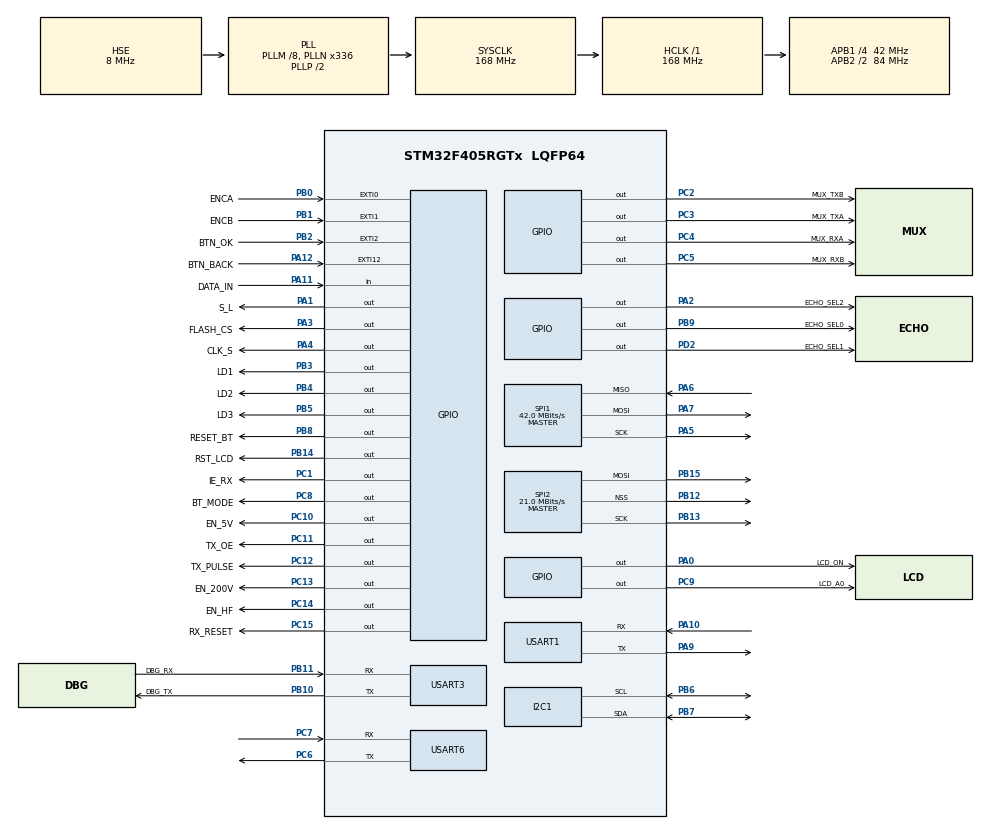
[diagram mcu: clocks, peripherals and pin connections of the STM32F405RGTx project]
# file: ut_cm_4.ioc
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Dma.Request0=USART1_RX
Dma.Request1=USART1_TX
Dma.Request2=USART3_RX
Dma.Request3=USART3_TX
Dma.Request4=USART6_RX
Dma.Request5=USART6_TX
Dma.USART1_RX.0.Direction=DMA_PERIPH_TO_MEMORY
Dma.USART1_RX.0.FIFOMode=DMA_FIFOMODE_DISABLE
Dma.USART1_RX.0.Instance=DMA2_Stream2
Dma.USART1_RX.0.MemDataAlignment=DMA_MDATAALIGN_BYTE
Dma.USART1_RX.0.MemInc=DMA_MINC_ENABLE
Dma.USART1_RX.0.Mode=DMA_CIRCULAR
Dma.USART1_RX.0.PeriphDataAlignment=DMA_PDATAALIGN_BYTE
Dma.USART1_RX.0.PeriphInc=DMA_PINC_DISABLE
Dma.USART1_RX.0.Priority=DMA_PRIORITY_LOW
Dma.USART1_TX.1.Direction=DMA_MEMORY_TO_PERIPH
Dma.USART1_TX.1.FIFOMode=DMA_FIFOMODE_DISABLE
Dma.USART1_TX.1.Instance=DMA2_Stream7
Dma.USART1_TX.1.MemDataAlignment=DMA_MDATAALIGN_BYTE
Dma.USART1_TX.1.MemInc=DMA_MINC_ENABLE
Dma.USART1_TX.1.Mode=DMA_NORMAL
Dma.USART1_TX.1.PeriphDataAlignment=DMA_PDATAALIGN_BYTE
Dma.USART1_TX.1.PeriphInc=DMA_PINC_DISABLE
Dma.USART1_TX.1.Priority=DMA_PRIORITY_LOW
Dma.USART3_RX.2.Direction=DMA_PERIPH_TO_MEMORY
Dma.USART3_RX.2.FIFOMode=DMA_FIFOMODE_DISABLE
Dma.USART3_RX.2.Instance=DMA1_Stream1
Dma.USART3_RX.2.MemDataAlignment=DMA_MDATAALIGN_BYTE
Dma.USART3_RX.2.MemInc=DMA_MINC_ENABLE
Dma.USART3_RX.2.Mode=DMA_CIRCULAR
Dma.USART3_RX.2.PeriphDataAlignment=DMA_PDATAALIGN_BYTE
Dma.USART3_RX.2.PeriphInc=DMA_PINC_DISABLE
Dma.USART3_RX.2.Priority=DMA_PRIORITY_LOW
Dma.USART3_TX.3.Direction=DMA_MEMORY_TO_PERIPH
Dma.USART3_TX.3.FIFOMode=DMA_FIFOMODE_DISABLE
Dma.USART3_TX.3.Instance=DMA1_Stream3
Dma.USART3_TX.3.MemDataAlignment=DMA_MDATAALIGN_BYTE
Dma.USART3_TX.3.MemInc=DMA_MINC_ENABLE
Dma.USART3_TX.3.Mode=DMA_NORMAL
Dma.USART3_TX.3.PeriphDataAlignment=DMA_PDATAALIGN_BYTE
Dma.USART3_TX.3.PeriphInc=DMA_PINC_DISABLE
Dma.USART3_TX.3.Priority=DMA_PRIORITY_LOW
Dma.USART6_RX.4.Direction=DMA_PERIPH_TO_MEMORY
Dma.USART6_RX.4.FIFOMode=DMA_FIFOMODE_DISABLE
Dma.USART6_RX.4.Instance=DMA2_Stream1
Dma.USART6_RX.4.MemDataAlignment=DMA_MDATAALIGN_BYTE
Dma.USART6_RX.4.MemInc=DMA_MINC_ENABLE
Dma.USART6_RX.4.Mode=DMA_CIRCULAR
Dma.USART6_RX.4.PeriphDataAlignment=DMA_PDATAALIGN_BYTE
Dma.USART6_RX.4.PeriphInc=DMA_PINC_DISABLE
Dma.USART6_RX.4.Priority=DMA_PRIORITY_LOW
Dma.USART6_TX.5.Direction=DMA_MEMORY_TO_PERIPH
Dma.USART6_TX.5.FIFOMode=DMA_FIFOMODE_DISABLE
Dma.USART6_TX.5.Instance=DMA2_Stream6
Dma.USART6_TX.5.MemDataAlignment=DMA_MDATAALIGN_BYTE
Dma.USART6_TX.5.MemInc=DMA_MINC_ENABLE
Dma.USART6_TX.5.Mode=DMA_NORMAL
Dma.USART6_TX.5.PeriphDataAlignment=DMA_PDATAALIGN_BYTE
Dma.USART6_TX.5.PeriphInc=DMA_PINC_DISABLE
Dma.USART6_TX.5.Priority=DMA_PRIORITY_LOW
FREERTOS.Tasks01=defaultTask,0,128,StartDefaultTask,Default,NULL
IWDG.Prescaler=IWDG_PRESCALER_16
Mcu.Family=STM32F4
Mcu.Name=STM32F405RGTx
Mcu.Package=LQFP64
NVIC.DMA1_Stream1_IRQn=true\:5\:0\:false\:false\:true\:true\:false
NVIC.DMA1_Stream3_IRQn=true\:5\:0\:false\:false\:true\:true\:false
NVIC.DMA2_Stream1_IRQn=true\:5\:0\:false\:false\:true\:true\:false
NVIC.DMA2_Stream2_IRQn=true\:5\:0\:false\:false\:true\:true\:false
NVIC.DMA2_Stream6_IRQn=true\:5\:0\:false\:false\:true\:true\:false
NVIC.DMA2_Stream7_IRQn=true\:5\:0\:false\:false\:true\:true\:false
NVIC.EXTI0_IRQn=true\:5\:0\:false\:true\:true\:1\:true\:true
NVIC.EXTI15_10_IRQn=true\:0\:0\:false\:false\:true\:false\:true
NVIC.EXTI1_IRQn=true\:5\:0\:false\:true\:true\:2\:true\:true
NVIC.EXTI2_IRQn=true\:5\:0\:false\:true\:true\:3\:true\:true
NVIC.PriorityGroup=NVIC_PRIORITYGROUP_4
NVIC.TIM2_IRQn=true\:0\:0\:false\:false\:true\:false\:false
NVIC.TimeBase=TIM2_IRQn
NVIC.TimeBaseIP=TIM2
NVIC.USART1_IRQn=true\:5\:0\:false\:false\:true\:true\:true
PA0-WKUP.GPIO_Label=LCD_ON
PA0-WKUP.Signal=GPIO_Output
PA1.GPIO_Label=S_L
PA1.GPIO_Speed=GPIO_SPEED_FREQ_VERY_HIGH
PA1.Signal=GPIO_Output
PA10.Mode=Asynchronous
PA10.Signal=USART1_RX
PA11.GPIO_Label=DATA_IN
PA11.Signal=GPIO_Input
PA12.GPIO_Label=BTN_BACK
PA12.Signal=GPXTI12
PA2.GPIO_Label=ECHO_SEL2
PA2.Signal=GPIO_Output
PA3.GPIO_Label=FLASH_CS
PA3.GPIO_Speed=GPIO_SPEED_FREQ_VERY_HIGH
PA3.Signal=GPIO_Output
PA4.GPIO_Label=CLK_S
PA4.GPIO_Speed=GPIO_SPEED_FREQ_VERY_HIGH
PA4.Signal=GPIO_Output
PA5.Mode=Full_Duplex_Master
PA5.Signal=SPI1_SCK
PA6.Mode=Full_Duplex_Master
PA6.Signal=SPI1_MISO
PA7.Mode=Full_Duplex_Master
PA7.Signal=SPI1_MOSI
PA9.Mode=Asynchronous
PA9.Signal=USART1_TX
PB0.GPIO_Label=ENCA
PB0.Signal=GPXTI0
PB1.GPIO_Label=ENCB
PB1.Signal=GPXTI1
PB10.GPIO_Label=DBG_TX
PB10.Mode=Asynchronous
PB10.Signal=USART3_TX
PB11.GPIO_Label=DBG_RX
PB11.Mode=Asynchronous
PB11.Signal=USART3_RX
PB12.Mode=NSS_Signal_Hard_Output
PB12.Signal=SPI2_NSS
PB13.Mode=TX_Only_Simplex_Unidirect_Master
PB13.Signal=SPI2_SCK
PB14.GPIO_Label=RST_LCD
PB14.Signal=GPIO_Output
PB15.Mode=TX_Only_Simplex_Unidirect_Master
PB15.Signal=SPI2_MOSI
PB2.GPIO_Label=BTN_OK
PB2.Signal=GPXTI2
PB3.GPIO_Label=LD1
PB3.Signal=GPIO_Output
PB4.GPIO_Label=LD2
PB4.Signal=GPIO_Output
PB5.GPIO_Label=LD3
PB5.Signal=GPIO_Output
PB6.Mode=I2C
PB6.Signal=I2C1_SCL
PB7.Mode=I2C
PB7.Signal=I2C1_SDA
PB8.GPIO_Label=RESET_BT
PB8.Signal=GPIO_Output
PB9.GPIO_Label=ECHO_SEL0
PB9.Signal=GPIO_Output
PC1.GPIO_Label=IE_RX
PC1.GPIO_Speed=GPIO_SPEED_FREQ_VERY_HIGH
PC1.Signal=GPIO_Output
PC10.GPIO_Label=EN_5V
PC10.Signal=GPIO_Output
PC11.GPIO_Label=TX_OE
PC11.GPIO_Speed=GPIO_SPEED_FREQ_VERY_HIGH
PC11.Signal=GPIO_Output
PC12.GPIO_Label=TX_PULSE
PC12.GPIO_Speed=GPIO_SPEED_FREQ_VERY_HIGH
PC12.Signal=GPIO_Output
PC13-ANTI_TAMP.GPIO_Label=EN_200V
PC13-ANTI_TAMP.Signal=GPIO_Output
PC14-OSC32_IN.GPIO_Label=EN_HF
PC14-OSC32_IN.Signal=GPIO_Output
PC15-OSC32_OUT.GPIO_Label=RX_RESET
PC15-OSC32_OUT.Signal=GPIO_Output
PC2.GPIO_Label=MUX_TXB
PC2.GPIO_Speed=GPIO_SPEED_FREQ_MEDIUM
PC2.Signal=GPIO_Output
PC3.GPIO_Label=MUX_TXA
PC3.GPIO_Speed=GPIO_SPEED_FREQ_MEDIUM
PC3.Signal=GPIO_Output
PC4.GPIO_Label=MUX_RXA
PC4.GPIO_Speed=GPIO_SPEED_FREQ_MEDIUM
PC4.Signal=GPIO_Output
PC5.GPIO_Label=MUX_RXB
PC5.GPIO_Speed=GPIO_SPEED_FREQ_MEDIUM
PC5.Signal=GPIO_Output
PC6.Mode=Asynchronous
PC6.Signal=USART6_TX
PC7.Mode=Asynchronous
PC7.Signal=USART6_RX
PC8.GPIO_Label=BT_MODE
PC8.Signal=GPIO_Output
PC9.GPIO_Label=LCD_A0
PC9.GPIO_Speed=GPIO_SPEED_FREQ_MEDIUM
PC9.Signal=GPIO_Output
PD2.GPIO_Label=ECHO_SEL1
PD2.Signal=GPIO_Output
PH0-OSC_IN.Mode=HSE-External-Oscillator
PH0-OSC_IN.Signal=RCC_OSC_IN
PH1-OSC_OUT.Mode=HSE-External-Oscillator
PH1-OSC_OUT.Signal=RCC_OSC_OUT
ProjectManager.HeapSize=0x200
ProjectManager.StackSize=0x400
ProjectManager.TargetToolchain=SW4STM32
RCC.48MHZClocksFreq_Value=84000000
RCC.AHBFreq_Value=168000000
RCC.APB1CLKDivider=RCC_HCLK_DIV4
RCC.APB1Freq_Value=42000000
RCC.APB1TimFreq_Value=84000000
RCC.APB2CLKDivider=RCC_HCLK_DIV2
RCC.APB2Freq_Value=84000000
RCC.APB2TimFreq_Value=168000000
RCC.CortexFreq_Value=168000000
RCC.HCLKFreq_Value=168000000
RCC.HSE_VALUE=8000000
RCC.HSI_VALUE=16000000
RCC.LSE_VALUE=32768
RCC.PLLM=8
RCC.PLLN=336
RCC.PLLSourceVirtual=RCC_PLLSOURCE_HSE
RCC.SYSCLKFreq_VALUE=168000000
RCC.SYSCLKSource=RCC_SYSCLKSOURCE_PLLCLK
RCC.VCOOutputFreq_Value=336000000
SPI1.BaudRatePrescaler=SPI_BAUDRATEPRESCALER_2
SPI1.CalculateBaudRate=42.0 MBits/s
SPI1.Direction=SPI_DIRECTION_2LINES
SPI1.Mode=SPI_MODE_MASTER
SPI1.VirtualType=VM_MASTER
SPI2.BaudRatePrescaler=SPI_BAUDRATEPRESCALER_2
SPI2.CalculateBaudRate=21.0 MBits/s
SPI2.Direction=SPI_DIRECTION_2LINES
SPI2.Mode=SPI_MODE_MASTER
SPI2.VirtualNSS=VM_NSSHARD
SPI2.VirtualType=VM_MASTER
USART1.VirtualMode=VM_ASYNC
USART3.VirtualMode=VM_ASYNC
USART6.VirtualMode=VM_ASYNC
VP_FREERTOS_VS_ENABLE.Mode=Enabled
VP_IWDG_VS_IWDG.Mode=IWDG_Activate
VP_SYS_VS_tim2.Mode=TIM2
board=custom

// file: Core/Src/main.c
/**
  ******************************************************************************
  * @file           : main.c
  * @brief          : Main program body
  ******************************************************************************
  * This notice applies to any and all portions of this file
  * that are not between comment pairs USER CODE BEGIN and
  * USER CODE END. Other portions of this file, whether
  * inserted by the user or by software development tools
  * are owned by their respective copyright owners.
  *
  * Copyright (c) 2018 STMicroelectronics International N.V.
  * All rights reserved.
  *
  * Redistribution and use in source and binary forms, with or without
  * modification, are permitted, provided that the following conditions are met:
  *
  * 1. Redistribution of source code must retain the above copyright notice,
  *    this list of conditions and the following disclaimer.
  * 2. Redistributions in binary form must reproduce the above copyright notice,
  *    this list of conditions and the following disclaimer in the documentation
  *    and/or other materials provided with the distribution.
  * 3. Neither the name of STMicroelectronics nor the names of other
  *    contributors to this software may be used to endorse or promote products
  *    derived from this software without specific written permission.
  * 4. This software, including modifications and/or derivative works of this
  *    software, must execute solely and exclusively on microcontroller or
  *    microprocessor devices manufactured by or for STMicroelectronics.
  * 5. Redistribution and use of this software other than as permitted under
  *    this license is void and will automatically terminate your rights under
  *    this license.
  *
  * THIS SOFTWARE IS PROVIDED BY STMICROELECTRONICS AND CONTRIBUTORS "AS IS"
  * AND ANY EXPRESS, IMPLIED OR STATUTORY WARRANTIES, INCLUDING, BUT NOT
  * LIMITED TO, THE IMPLIED WARRANTIES OF MERCHANTABILITY, FITNESS FOR A
  * PARTICULAR PURPOSE AND NON-INFRINGEMENT OF THIRD PARTY INTELLECTUAL PROPERTY
  * RIGHTS ARE DISCLAIMED TO THE FULLEST EXTENT PERMITTED BY LAW. IN NO EVENT
  * SHALL STMICROELECTRONICS OR CONTRIBUTORS BE LIABLE FOR ANY DIRECT, INDIRECT,
  * INCIDENTAL, SPECIAL, EXEMPLARY, OR CONSEQUENTIAL DAMAGES (INCLUDING, BUT NOT
  * LIMITED TO, PROCUREMENT OF SUBSTITUTE GOODS OR SERVICES; LOSS OF USE, DATA,
  * OR PROFITS; OR BUSINESS INTERRUPTION) HOWEVER CAUSED AND ON ANY THEORY OF
  * LIABILITY, WHETHER IN CONTRACT, STRICT LIABILITY, OR TORT (INCLUDING
  * NEGLIGENCE OR OTHERWISE) ARISING IN ANY WAY OUT OF THE USE OF THIS SOFTWARE,
  * EVEN IF ADVISED OF THE POSSIBILITY OF SUCH DAMAGE.
  *
  ******************************************************************************
  */
#include "main.h"
#include "stm32f4xx_hal.h"
#include "cmsis_os.h"

I2C_HandleTypeDef hi2c1;

IWDG_HandleTypeDef hiwdg;

SPI_HandleTypeDef hspi1;
SPI_HandleTypeDef hspi2;

UART_HandleTypeDef huart1;
UART_HandleTypeDef huart3;
UART_HandleTypeDef huart6;
DMA_HandleTypeDef hdma_usart1_rx;
DMA_HandleTypeDef hdma_usart1_tx;
DMA_HandleTypeDef hdma_usart3_rx;
DMA_HandleTypeDef hdma_usart3_tx;
DMA_HandleTypeDef hdma_usart6_rx;
DMA_HandleTypeDef hdma_usart6_tx;

osThreadId defaultTaskHandle;

/* USER CODE BEGIN PV */
/* Private variables ---------------------------------------------------------*/
osThreadId RAMTask2;

/* USER CODE END PV */

void SystemClock_Config(void);
static void MX_GPIO_Init(void);
static void MX_DMA_Init(void);
static void MX_I2C1_Init(void);
static void MX_USART3_UART_Init(void);
static void MX_SPI2_Init(void);
static void MX_SPI1_Init(void);
static void MX_USART1_UART_Init(void);
static void MX_USART6_UART_Init(void);
static void MX_IWDG_Init(void);
void StartDefaultTask(void const * argument);
void Task2(void const * argument);

/* USER CODE BEGIN PFP */
/* Private function prototypes -----------------------------------------------*/
static void MX_NVIC_Init(void);

/* USER CODE END PFP */

int main(void)
{

  /* MCU Configuration----------------------------------------------------------*/

  /* Reset of all peripherals, Initializes the Flash interface and the Systick. */
  HAL_Init();

  /* Configure the system clock */
  SystemClock_Config();

  /* Initialize all configured peripherals */
  MX_GPIO_Init();
  MX_DMA_Init();
  MX_I2C1_Init();
  MX_USART3_UART_Init();
  MX_SPI2_Init();
  MX_SPI1_Init();
  MX_USART1_UART_Init();
  MX_USART6_UART_Init();
  MX_IWDG_Init();

  /* Initialize interrupts */
  MX_NVIC_Init();

  /* Create the thread(s) */
  /* definition and creation of defaultTask */
  osThreadDef(defaultTask, StartDefaultTask, osPriorityNormal, 0, 128);
  defaultTaskHandle = osThreadCreate(osThread(defaultTask), NULL);

  /* USER CODE BEGIN RTOS_THREADS */
  /* add threads, ... */
  osThreadDef(defaultTask2, Task2, osPriorityNormal, 0, 128);
   RAMTask2 = osThreadCreate(osThread(defaultTask2), NULL);

  /* USER CODE END RTOS_THREADS */

  /* Start scheduler */
  osKernelStart();

  /* We should never get here as control is now taken by the scheduler */

  /* Infinite loop */
  while (1)
  {

  }

}

void SystemClock_Config(void)
{

  RCC_OscInitTypeDef RCC_OscInitStruct;
  RCC_ClkInitTypeDef RCC_ClkInitStruct;

    /**Configure the main internal regulator output voltage
    */
  __HAL_RCC_PWR_CLK_ENABLE();

  __HAL_PWR_VOLTAGESCALING_CONFIG(PWR_REGULATOR_VOLTAGE_SCALE1);

    /**Initializes the CPU, AHB and APB busses clocks
    */
  RCC_OscInitStruct.OscillatorType = RCC_OSCILLATORTYPE_LSI|RCC_OSCILLATORTYPE_HSE;
  RCC_OscInitStruct.HSEState = RCC_HSE_ON;
  RCC_OscInitStruct.LSIState = RCC_LSI_ON;
  RCC_OscInitStruct.PLL.PLLState = RCC_PLL_ON;
  RCC_OscInitStruct.PLL.PLLSource = RCC_PLLSOURCE_HSE;
  RCC_OscInitStruct.PLL.PLLM = 8;
  RCC_OscInitStruct.PLL.PLLN = 336;
  RCC_OscInitStruct.PLL.PLLP = RCC_PLLP_DIV2;
  RCC_OscInitStruct.PLL.PLLQ = 4;
  if (HAL_RCC_OscConfig(&RCC_OscInitStruct) != HAL_OK)
  {
    _Error_Handler(__FILE__, __LINE__);
  }

    /**Initializes the CPU, AHB and APB busses clocks
    */
  RCC_ClkInitStruct.ClockType = RCC_CLOCKTYPE_HCLK|RCC_CLOCKTYPE_SYSCLK
                              |RCC_CLOCKTYPE_PCLK1|RCC_CLOCKTYPE_PCLK2;
  RCC_ClkInitStruct.SYSCLKSource = RCC_SYSCLKSOURCE_PLLCLK;
  RCC_ClkInitStruct.AHBCLKDivider = RCC_SYSCLK_DIV1;
  RCC_ClkInitStruct.APB1CLKDivider = RCC_HCLK_DIV4;
  RCC_ClkInitStruct.APB2CLKDivider = RCC_HCLK_DIV2;

  if (HAL_RCC_ClockConfig(&RCC_ClkInitStruct, FLASH_LATENCY_5) != HAL_OK)
  {
    _Error_Handler(__FILE__, __LINE__);
  }

    /**Configure the Systick interrupt time
    */
  HAL_SYSTICK_Config(HAL_RCC_GetHCLKFreq()/1000);

    /**Configure the Systick
    */
  HAL_SYSTICK_CLKSourceConfig(SYSTICK_CLKSOURCE_HCLK);

  /* SysTick_IRQn interrupt configuration */
  HAL_NVIC_SetPriority(SysTick_IRQn, 15, 0);
}

/**
  * @brief NVIC Configuration.
  * @retval None
  */
static void MX_NVIC_Init(void)
{
  /* EXTI0_IRQn interrupt configuration */
  HAL_NVIC_SetPriority(EXTI0_IRQn, 5, 0);
  HAL_NVIC_EnableIRQ(EXTI0_IRQn);
  /* EXTI1_IRQn interrupt configuration */
  HAL_NVIC_SetPriority(EXTI1_IRQn, 5, 0);
  HAL_NVIC_EnableIRQ(EXTI1_IRQn);
  /* EXTI2_IRQn interrupt configuration */
  HAL_NVIC_SetPriority(EXTI2_IRQn, 5, 0);
  HAL_NVIC_EnableIRQ(EXTI2_IRQn);
}

/* I2C1 init function */
static void MX_I2C1_Init(void)
{

  hi2c1.Instance = I2C1;
  hi2c1.Init.ClockSpeed = 100000;
  hi2c1.Init.DutyCycle = I2C_DUTYCYCLE_2;
  hi2c1.Init.OwnAddress1 = 0;
  hi2c1.Init.AddressingMode = I2C_ADDRESSINGMODE_7BIT;
  hi2c1.Init.DualAddressMode = I2C_DUALADDRESS_DISABLE;
  hi2c1.Init.OwnAddress2 = 0;
  hi2c1.Init.GeneralCallMode = I2C_GENERALCALL_DISABLE;
  hi2c1.Init.NoStretchMode = I2C_NOSTRETCH_DISABLE;
  if (HAL_I2C_Init(&hi2c1) != HAL_OK)
  {
    _Error_Handler(__FILE__, __LINE__);
  }

}

/* IWDG init function */
static void MX_IWDG_Init(void)
{

  hiwdg.Instance = IWDG;
  hiwdg.Init.Prescaler = IWDG_PRESCALER_16;
  hiwdg.Init.Reload = 4095;
  if (HAL_IWDG_Init(&hiwdg) != HAL_OK)
  {
    _Error_Handler(__FILE__, __LINE__);
  }

}

/* SPI1 init function */
static void MX_SPI1_Init(void)
{

  /* SPI1 parameter configuration*/
  hspi1.Instance = SPI1;
  hspi1.Init.Mode = SPI_MODE_MASTER;
  hspi1.Init.Direction = SPI_DIRECTION_2LINES;
  hspi1.Init.DataSize = SPI_DATASIZE_8BIT;
  hspi1.Init.CLKPolarity = SPI_POLARITY_LOW;
  hspi1.Init.CLKPhase = SPI_PHASE_1EDGE;
  hspi1.Init.NSS = SPI_NSS_SOFT;
  hspi1.Init.BaudRatePrescaler = SPI_BAUDRATEPRESCALER_2;
  hspi1.Init.FirstBit = SPI_FIRSTBIT_MSB;
  hspi1.Init.TIMode = SPI_TIMODE_DISABLE;
  hspi1.Init.CRCCalculation = SPI_CRCCALCULATION_DISABLE;
  hspi1.Init.CRCPolynomial = 10;
  if (HAL_SPI_Init(&hspi1) != HAL_OK)
  {
    _Error_Handler(__FILE__, __LINE__);
  }

}

/* SPI2 init function */
static void MX_SPI2_Init(void)
{

  /* SPI2 parameter configuration*/
  hspi2.Instance = SPI2;
  hspi2.Init.Mode = SPI_MODE_MASTER;
  hspi2.Init.Direction = SPI_DIRECTION_2LINES;
  hspi2.Init.DataSize = SPI_DATASIZE_8BIT;
  hspi2.Init.CLKPolarity = SPI_POLARITY_LOW;
  hspi2.Init.CLKPhase = SPI_PHASE_1EDGE;
  hspi2.Init.NSS = SPI_NSS_HARD_OUTPUT;
  hspi2.Init.BaudRatePrescaler = SPI_BAUDRATEPRESCALER_2;
  hspi2.Init.FirstBit = SPI_FIRSTBIT_MSB;
  hspi2.Init.TIMode = SPI_TIMODE_DISABLE;
  hspi2.Init.CRCCalculation = SPI_CRCCALCULATION_DISABLE;
  hspi2.Init.CRCPolynomial = 10;
  if (HAL_SPI_Init(&hspi2) != HAL_OK)
  {
    _Error_Handler(__FILE__, __LINE__);
  }

}

/* USART1 init function */
static void MX_USART1_UART_Init(void)
{

  huart1.Instance = USART1;
  huart1.Init.BaudRate = 115200;
  huart1.Init.WordLength = UART_WORDLENGTH_8B;
  huart1.Init.StopBits = UART_STOPBITS_1;
  huart1.Init.Parity = UART_PARITY_NONE;
  huart1.Init.Mode = UART_MODE_TX_RX;
  huart1.Init.HwFlowCtl = UART_HWCONTROL_NONE;
  huart1.Init.OverSampling = UART_OVERSAMPLING_16;
  if (HAL_UART_Init(&huart1) != HAL_OK)
  {
    _Error_Handler(__FILE__, __LINE__);
  }

}

/* USART3 init function */
static void MX_USART3_UART_Init(void)
{

  huart3.Instance = USART3;
  huart3.Init.BaudRate = 115200;
  huart3.Init.WordLength = UART_WORDLENGTH_8B;
  huart3.Init.StopBits = UART_STOPBITS_1;
  huart3.Init.Parity = UART_PARITY_NONE;
  huart3.Init.Mode = UART_MODE_TX_RX;
  huart3.Init.HwFlowCtl = UART_HWCONTROL_NONE;
  huart3.Init.OverSampling = UART_OVERSAMPLING_16;
  if (HAL_UART_Init(&huart3) != HAL_OK)
  {
    _Error_Handler(__FILE__, __LINE__);
  }

}

/* USART6 init function */
static void MX_USART6_UART_Init(void)
{

  huart6.Instance = USART6;
  huart6.Init.BaudRate = 115200;
  huart6.Init.WordLength = UART_WORDLENGTH_8B;
  huart6.Init.StopBits = UART_STOPBITS_1;
  huart6.Init.Parity = UART_PARITY_NONE;
  huart6.Init.Mode = UART_MODE_TX_RX;
  huart6.Init.HwFlowCtl = UART_HWCONTROL_NONE;
  huart6.Init.OverSampling = UART_OVERSAMPLING_16;
  if (HAL_UART_Init(&huart6) != HAL_OK)
  {
    _Error_Handler(__FILE__, __LINE__);
  }

}

static void MX_DMA_Init(void)
{
  /* DMA controller clock enable */
  __HAL_RCC_DMA2_CLK_ENABLE();
  __HAL_RCC_DMA1_CLK_ENABLE();

  /* DMA interrupt init */
  /* DMA1_Stream1_IRQn interrupt configuration */
  HAL_NVIC_SetPriority(DMA1_Stream1_IRQn, 5, 0);
  HAL_NVIC_EnableIRQ(DMA1_Stream1_IRQn);
  /* DMA1_Stream3_IRQn interrupt configuration */
  HAL_NVIC_SetPriority(DMA1_Stream3_IRQn, 5, 0);
  HAL_NVIC_EnableIRQ(DMA1_Stream3_IRQn);
  /* DMA2_Stream1_IRQn interrupt configuration */
  HAL_NVIC_SetPriority(DMA2_Stream1_IRQn, 5, 0);
  HAL_NVIC_EnableIRQ(DMA2_Stream1_IRQn);
  /* DMA2_Stream2_IRQn interrupt configuration */
  HAL_NVIC_SetPriority(DMA2_Stream2_IRQn, 5, 0);
  HAL_NVIC_EnableIRQ(DMA2_Stream2_IRQn);
  /* DMA2_Stream6_IRQn interrupt configuration */
  HAL_NVIC_SetPriority(DMA2_Stream6_IRQn, 5, 0);
  HAL_NVIC_EnableIRQ(DMA2_Stream6_IRQn);
  /* DMA2_Stream7_IRQn interrupt configuration */
  HAL_NVIC_SetPriority(DMA2_Stream7_IRQn, 5, 0);
  HAL_NVIC_EnableIRQ(DMA2_Stream7_IRQn);

}

/** Configure pins as
        * Analog
        * Input
        * Output
        * EVENT_OUT
        * EXTI
*/
static void MX_GPIO_Init(void)
{

  GPIO_InitTypeDef GPIO_InitStruct;

  /* GPIO Ports Clock Enable */
  __HAL_RCC_GPIOC_CLK_ENABLE();
  __HAL_RCC_GPIOH_CLK_ENABLE();
  __HAL_RCC_GPIOA_CLK_ENABLE();
  __HAL_RCC_GPIOB_CLK_ENABLE();
  __HAL_RCC_GPIOD_CLK_ENABLE();

  /*Configure GPIO pin Output Level */
  HAL_GPIO_WritePin(GPIOC, EN_200V_Pin|EN_HF_Pin|RX_RESET_Pin|IE_RX_Pin
                          |MUX_TXB_Pin|MUX_TXA_Pin|MUX_RXA_Pin|MUX_RXB_Pin
                          |BT_MODE_Pin|LCD_A0_Pin|EN_5V_Pin|TX_OE_Pin
                          |TX_PULSE_Pin, GPIO_PIN_RESET);

  /*Configure GPIO pin Output Level */
  HAL_GPIO_WritePin(GPIOA, LCD_ON_Pin|S_L_Pin|ECHO_SEL2_Pin|FLASH_CS_Pin
                          |CLK_S_Pin, GPIO_PIN_RESET);

  /*Configure GPIO pin Output Level */
  HAL_GPIO_WritePin(GPIOB, RST_LCD_Pin|LD1_Pin|LD2_Pin|LD3_Pin
                          |RESET_BT_Pin|ECHO_SEL0_Pin, GPIO_PIN_RESET);

  /*Configure GPIO pin Output Level */
  HAL_GPIO_WritePin(ECHO_SEL1_GPIO_Port, ECHO_SEL1_Pin, GPIO_PIN_RESET);

  /*Configure GPIO pins : EN_200V_Pin EN_HF_Pin RX_RESET_Pin BT_MODE_Pin
                           EN_5V_Pin */
  GPIO_InitStruct.Pin = EN_200V_Pin|EN_HF_Pin|RX_RESET_Pin|BT_MODE_Pin
                          |EN_5V_Pin;
  GPIO_InitStruct.Mode = GPIO_MODE_OUTPUT_PP;
  GPIO_InitStruct.Pull = GPIO_NOPULL;
  GPIO_InitStruct.Speed = GPIO_SPEED_FREQ_LOW;
  HAL_GPIO_Init(GPIOC, &GPIO_InitStruct);

  /*Configure GPIO pins : IE_RX_Pin TX_OE_Pin TX_PULSE_Pin */
  GPIO_InitStruct.Pin = IE_RX_Pin|TX_OE_Pin|TX_PULSE_Pin;
  GPIO_InitStruct.Mode = GPIO_MODE_OUTPUT_PP;
  GPIO_InitStruct.Pull = GPIO_NOPULL;
  GPIO_InitStruct.Speed = GPIO_SPEED_FREQ_VERY_HIGH;
  HAL_GPIO_Init(GPIOC, &GPIO_InitStruct);

  /*Configure GPIO pins : MUX_TXB_Pin MUX_TXA_Pin MUX_RXA_Pin MUX_RXB_Pin
                           LCD_A0_Pin */
  GPIO_InitStruct.Pin = MUX_TXB_Pin|MUX_TXA_Pin|MUX_RXA_Pin|MUX_RXB_Pin
                          |LCD_A0_Pin;
  GPIO_InitStruct.Mode = GPIO_MODE_OUTPUT_PP;
  GPIO_InitStruct.Pull = GPIO_NOPULL;
  GPIO_InitStruct.Speed = GPIO_SPEED_FREQ_MEDIUM;
  HAL_GPIO_Init(GPIOC, &GPIO_InitStruct);

  /*Configure GPIO pins : LCD_ON_Pin ECHO_SEL2_Pin */
  GPIO_InitStruct.Pin = LCD_ON_Pin|ECHO_SEL2_Pin;
  GPIO_InitStruct.Mode = GPIO_MODE_OUTPUT_PP;
  GPIO_InitStruct.Pull = GPIO_NOPULL;
  GPIO_InitStruct.Speed = GPIO_SPEED_FREQ_LOW;
  HAL_GPIO_Init(GPIOA, &GPIO_InitStruct);

  /*Configure GPIO pins : S_L_Pin FLASH_CS_Pin CLK_S_Pin */
  GPIO_InitStruct.Pin = S_L_Pin|FLASH_CS_Pin|CLK_S_Pin;
  GPIO_InitStruct.Mode = GPIO_MODE_OUTPUT_PP;
  GPIO_InitStruct.Pull = GPIO_NOPULL;
  GPIO_InitStruct.Speed = GPIO_SPEED_FREQ_VERY_HIGH;
  HAL_GPIO_Init(GPIOA, &GPIO_InitStruct);

  /*Configure GPIO pins : ENCA_Pin ENCB_Pin BTN_OK_Pin */
  GPIO_InitStruct.Pin = ENCA_Pin|ENCB_Pin|BTN_OK_Pin;
  GPIO_InitStruct.Mode = GPIO_MODE_IT_RISING;
  GPIO_InitStruct.Pull = GPIO_NOPULL;
  HAL_GPIO_Init(GPIOB, &GPIO_InitStruct);

  /*Configure GPIO pins : RST_LCD_Pin LD1_Pin LD2_Pin LD3_Pin
                           RESET_BT_Pin ECHO_SEL0_Pin */
  GPIO_InitStruct.Pin = RST_LCD_Pin|LD1_Pin|LD2_Pin|LD3_Pin
                          |RESET_BT_Pin|ECHO_SEL0_Pin;
  GPIO_InitStruct.Mode = GPIO_MODE_OUTPUT_PP;
  GPIO_InitStruct.Pull = GPIO_NOPULL;
  GPIO_InitStruct.Speed = GPIO_SPEED_FREQ_LOW;
  HAL_GPIO_Init(GPIOB, &GPIO_InitStruct);

  /*Configure GPIO pin : DATA_IN_Pin */
  GPIO_InitStruct.Pin = DATA_IN_Pin;
  GPIO_InitStruct.Mode = GPIO_MODE_INPUT;
  GPIO_InitStruct.Pull = GPIO_NOPULL;
  HAL_GPIO_Init(DATA_IN_GPIO_Port, &GPIO_InitStruct);

  /*Configure GPIO pin : BTN_BACK_Pin */
  GPIO_InitStruct.Pin = BTN_BACK_Pin;
  GPIO_InitStruct.Mode = GPIO_MODE_IT_RISING;
  GPIO_InitStruct.Pull = GPIO_NOPULL;
  HAL_GPIO_Init(BTN_BACK_GPIO_Port, &GPIO_InitStruct);

  /*Configure GPIO pin : ECHO_SEL1_Pin */
  GPIO_InitStruct.Pin = ECHO_SEL1_Pin;
  GPIO_InitStruct.Mode = GPIO_MODE_OUTPUT_PP;
  GPIO_InitStruct.Pull = GPIO_NOPULL;
  GPIO_InitStruct.Speed = GPIO_SPEED_FREQ_LOW;
  HAL_GPIO_Init(ECHO_SEL1_GPIO_Port, &GPIO_InitStruct);

  /* EXTI interrupt init*/
  HAL_NVIC_SetPriority(EXTI15_10_IRQn, 0, 0);
  HAL_NVIC_EnableIRQ(EXTI15_10_IRQn);

}

/* USER CODE BEGIN 4 */
void Task2(void const * argument)
{

  /* USER CODE BEGIN 5 */
  /* Infinite loop */
	int i = 0 ;
  for(;;)
  {

    //buat program disini
	for (i=0; i < 10; i++){
		HAL_GPIO_TogglePin(LD2_GPIO_Port, LD2_Pin);
		osDelay(500);
	}
	i = 0;
	for ( i=0; i < 10; i++){
		HAL_GPIO_TogglePin(LD3_GPIO_Port, LD3_Pin);
		osDelay(1000);
	}

  }
  /* USER CODE END 5 */
}

/* USER CODE END 4 */

/* StartDefaultTask function */
void StartDefaultTask(void const * argument)
{

  /* USER CODE BEGIN 5 */
  /* Infinite loop */
  for(;;)
  {

    //HAL_IWDG_Refresh(&hiwdg);
	for (int i=0; i < 100; i++){
		HAL_GPIO_TogglePin(LD1_GPIO_Port, LD1_Pin);
		osDelay(200);
		HAL_IWDG_Refresh(&hiwdg);
	}

  }
  /* USER CODE END 5 */
}

void HAL_TIM_PeriodElapsedCallback(TIM_HandleTypeDef *htim)
{
  if (htim->Instance == TIM2) {
    HAL_IncTick();
  }
}

void _Error_Handler(char *file, int line)
{
  while(1)
  {
  }
}

/************************ (C) COPYRIGHT STMicroelectronics *****END OF FILE****/
